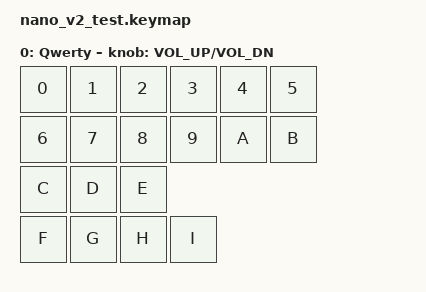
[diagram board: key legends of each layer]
/*
 * Copyright (c) 2023 The ZMK Contributors
 *
 * SPDX-License-Identifier: MIT
 */

#include <behaviors.dtsi>
#include <dt-bindings/zmk/keys.h>
#include <dt-bindings/zmk/bt.h>
#include <dt-bindings/zmk/ext_power.h>
#include <dt-bindings/zmk/rgb.h>


/ {

    keymap {
        compatible = "zmk,keymap";

        qwerty_layer {
//  ---------------------------------------------------------------------------------
//  |N0|N1|N2|N3  |N4  |N5  |
//  |N6|N7|N8|N9  |A   |B   |
//  |C |D |E |    |    |    |
//  |F |G |H |I   |    |    |

            bindings = <
&kp N0  &kp N1  &kp N2  &kp N3  &kp N4  &kp N5  
&kp N6  &kp N7  &kp N8  &kp N9  &kp A   &kp B   
&kp C   &kp D   &kp E                           
&kp F   &kp G   &kp H   &kp I                   

            >;
            label = "Qwerty";
            sensor-bindings = <&inc_dec_kp C_VOL_UP C_VOL_DN>;
        };
 
    };
};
